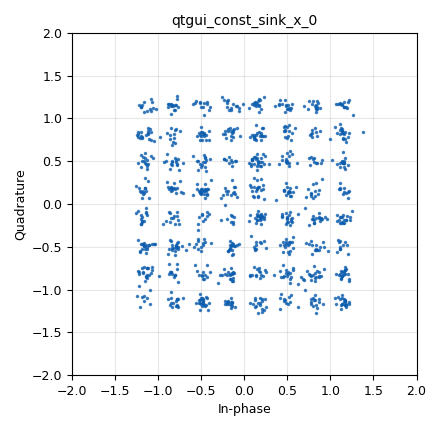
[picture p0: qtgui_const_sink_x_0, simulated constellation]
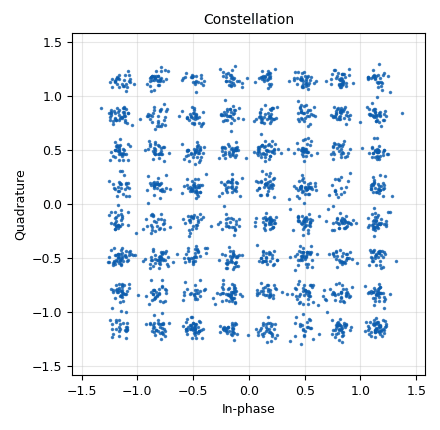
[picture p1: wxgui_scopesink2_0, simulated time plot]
options:
  parameters:
    author: Example
    category: Custom
    description: Adjust EbN0 and check the BER
    generate_options: qt_gui
    id: ber_sim
    output_language: python
    title: BER Simulation
  states: {}

blocks:
- name: EbN0
  id: variable_qtgui_range
  parameters:
    label: Eb / N0 (dB)
    orient: Qt.Horizontal
    start: '-2'
    step: '1'
    stop: '30'
    value: '15'
  states: {}
- name: EsN0
  id: variable
  parameters:
    value: EbN0 + 10*math.log10(bits_per_symbol)
  states: {}
- name: bits_per_symbol
  id: variable
  parameters:
    value: constellation.bits_per_symbol()
  states: {}
- name: const_points
  id: variable
  parameters:
    value: '[(-7+7j), (-3+7j), (1+7j), (5+7j), (-5+5j), (-1+5j), (3+5j), (7+5j), (-7+3j), (-3+3j), (1+3j), (5+3j), (-5+1j), (-1+1j), (3+1j), (7+1j), (-7-1j), (-3-1j), (1-1j), (5-1j), (-5-3j), (-1-3j), (3-3j), (7-3j), (-7-5j), (-3-5j), (1-5j), (5-5j), (-5-7j), (-1-7j), (3-7j), (7-7j)]'
  states: {}
- name: constellation
  id: variable
  parameters:
    comment: https://wiki.gnuradio.org/index.php/Constellation_Object
    value: digital.qam_constellation(64, True, digital.mod_codes.GRAY_CODE, True)
  states: {}
- name: samp_rate
  id: variable
  parameters:
    value: '100000'
  states: {}
- name: sym_map
  id: variable
  parameters:
    value: '[0, 1, 2, 3, 6, 7, 4, 5, 25, 24, 27, 26, 31, 30, 29, 28, 18, 19, 16, 17, 20, 21, 22, 23, 11, 10, 9, 8, 13, 12, 15, 14]'
  states: {}
- name: EbNo
  id: variable_slider
  parameters:
    converver: float_converter
    label: Energy Bit / Noise Power (dB)
    max: '100'
    min: '-100'
    num_steps: '200'
    style: wx.SL_HORIZONTAL
    value: '10'
  states: {}
- name: analog_noise_source_x_0
  id: analog_noise_source_x
  parameters:
    amp: 1.0/math.sqrt(10**(EsN0/10))
    noise_type: analog.GR_GAUSSIAN
    seed: '42'
    type: complex
  states: {}
- name: analog_random_source_x_0
  id: analog_random_source_x
  parameters:
    max: constellation.arity()
    min: '0'
    num_samps: '10000000'
    repeat: 'True'
    type: byte
  states: {}
- name: blks2_error_rate_0
  id: blks2_error_rate
  parameters:
    bits_per_symbol: constellation[constellation_type].bits_per_symbol()
    type: '''BER'''
    win_size: '10000000'
  states: {}
- name: blocks_add_xx_0
  id: blocks_add_xx
  parameters:
    type: complex
  states: {}
- name: blocks_throttle_0
  id: blocks_throttle
  parameters:
    samples_per_second: samp_rate
    type: byte
  states: {}
- name: digital_chunks_to_symbols_xx_0
  id: digital_chunks_to_symbols_xx
  parameters:
    dimension: '1'
    in_type: byte
    out_type: complex
    symbol_table: constellation.points()
  states: {}
- name: digital_constellation_decoder_cb_0
  id: digital_constellation_decoder_cb
  parameters:
    constellation: constellation.base()
  states: {}
- name: fec_ber_bf_0
  id: fec_ber_bf
  parameters:
    test_mode: 'False'
  states: {}
- name: import
  id: import
  parameters:
    imports: import math
  states: {}
- name: qtgui_const_sink_x_0
  id: qtgui_const_sink_x
  parameters:
    size: '1024'
    type: complex
  states: {}
- name: qtgui_number_sink_0
  id: qtgui_number_sink
  parameters:
    graph_type: qtgui.NUM_GRAPH_HORIZ
    min: '0'
    type: float
  states: {}
- name: wxgui_numbersink2_0
  id: wxgui_numbersink2
  parameters:
    average: 'False'
    avg_alpha: '0'
    decimal_places: '6'
    factor: '100'
    grid_pos: 1,0,1,1
    max_value: '1'
    min_value: '0'
    number_rate: '15'
    peak_hold: 'False'
    ref_level: '0'
    samp_rate: samp_rate
    show_gauge: 'False'
    title: BER
    type: float
    units: '%'
  states: {}
- name: wxgui_scopesink2_0
  id: wxgui_scopesink2
  parameters:
    ac_couple: 'False'
    grid_pos: 2,0,1,1
    num_inputs: '1'
    samp_rate: samp_rate
    t_scale: '0'
    title: Constellation
    trig_mode: wxgui.TRIG_MODE_AUTO
    type: complex
    v_offset: '0'
    v_scale: '0'
    xy_mode: 'True'
    y_axis_label: Counts
  states: {}

connections:
- [analog_noise_source_x_0, '0', blocks_add_xx_0, '1']
- [analog_random_source_x_0, '0', blocks_throttle_0, '0']
- [blks2_error_rate_0, '0', wxgui_numbersink2_0, '0']
- [blocks_add_xx_0, '0', digital_constellation_decoder_cb_0, '0']
- [blocks_add_xx_0, '0', qtgui_const_sink_x_0, '0']
- [blocks_add_xx_0, '0', wxgui_scopesink2_0, '0']
- [blocks_throttle_0, '0', blks2_error_rate_0, '0']
- [blocks_throttle_0, '0', digital_chunks_to_symbols_xx_0, '0']
- [blocks_throttle_0, '0', fec_ber_bf_0, '0']
- [digital_chunks_to_symbols_xx_0, '0', blocks_add_xx_0, '0']
- [digital_constellation_decoder_cb_0, '0', blks2_error_rate_0, '1']
- [digital_constellation_decoder_cb_0, '0', fec_ber_bf_0, '1']
- [fec_ber_bf_0, '0', qtgui_number_sink_0, '0']

metadata:
  file_format: 1
